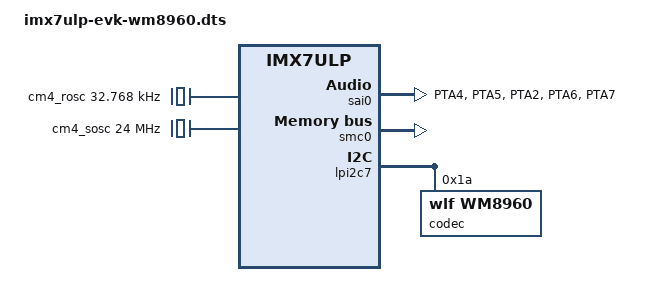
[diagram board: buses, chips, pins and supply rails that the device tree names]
/*
 * Copyright 2016 Freescale Semiconductor, Inc.
 *
 * This program is free software; you can redistribute it and/or modify
 * it under the terms of the GNU General Public License version 2 as
 * published by the Free Software Foundation.
 */

#include "imx7ulp-evk.dts"

/ {

	aips0: aips-bus@41000000 {
		compatible = "fsl,aips-bus", "simple-bus";
		#address-cells = <1>;
		#size-cells = <1>;
		reg = <0x41000000 0x80000>;
		ranges;

		pcc0: pcc0@41026000 {
			compatible  = "fsl,imx7ulp-pcc0";
			reg = <0x41026000 0x1000>;
		};

		clks_m4: scg0@41027000 {
			compatible = "fsl,imx7ulp-scg0";
			reg = <0x41027000 0x1000>;
			clocks = <&cm4_rosc>, <&cm4_sosc>, <&cm4_sirc>, <&cm4_firc>;
			clock-names = "cm4_rosc", "cm4_sosc", "cm4_sirc", "cm4_firc";
			#clock-cells = <1>;
		};

		sai0: sai@41037000 {
			compatible = "fsl,imx7ulp-sai";
			reg = <0x41037000 0x1000>;
			interrupts = <GIC_SPI 65 IRQ_TYPE_LEVEL_HIGH>;
			clocks = <&clks_m4 IMX7ULP_CM4_CLK_SAI0_IPG>,
				 <&clks_m4 IMX7ULP_CM4_CLK_DUMMY>,
				 <&clks_m4 IMX7ULP_CM4_CLK_SAI0_ROOT>,
				 <&clks_m4 IMX7ULP_CM4_CLK_DUMMY>,
				 <&clks_m4 IMX7ULP_CM4_CLK_DUMMY>;
			clock-names = "bus", "mclk0", "mclk1", "mclk2", "mclk3";
			dma-names = "rx", "tx";
			dmas = <&edma0 0 59>, <&edma0 0 60>;
			status = "disabled";
		};
	};

	aips1: aips-bus@41080000 {
		compatible = "fsl,aips-bus", "simple-bus";
		#address-cells = <1>;
		#size-cells = <1>;
		reg = <0x41080000 0x80000>;
		ranges;

		smc0: smc0@410a4000 {
			compatible = "fsl,imx7ulp-smc0";
			reg = <0x410a4000 0x1000>;
		};

		sai1: sai@410AA000 {
			compatible = "fsl,imx7ulp-sai";
			reg = <0x410AA000 0x1000>;
			interrupts = <GIC_SPI 66 IRQ_TYPE_LEVEL_HIGH>;
			clocks = <&clks_m4 IMX7ULP_CM4_CLK_SAI1_IPG>,
				 <&clks_m4 IMX7ULP_CM4_CLK_DUMMY>,
				 <&clks_m4 IMX7ULP_CM4_CLK_SAI1_ROOT>,
				 <&clks_m4 IMX7ULP_CM4_CLK_DUMMY>,
				 <&clks_m4 IMX7ULP_CM4_CLK_DUMMY>;
			clock-names = "bus", "mclk0", "mclk1", "mclk2", "mclk3";
			dma-names = "rx", "tx";
			dmas = <&edma0 0 61>, <&edma0 0 62>;
			status = "disabled";
		};

		pcc1: pcc1@410b2000 {
			compatible  = "fsl,imx7ulp-pcc1";
			reg = <0x410b2000 0x1000>;
		};
	};

	clocks_m4 {
		#address-cells = <1>;
		#size-cells = <0>;

		cm4_rosc: clock@6 {
			compatible = "fixed-clock";
			#clock-cells = <0>;
			clock-frequency = <32768>;
			clock-output-names = "cm4_rosc";
		};

		cm4_sosc: clock@7 {
			compatible = "fixed-clock";
			#clock-cells = <0>;
			clock-frequency = <24000000>;
			clock-output-names = "cm4_sosc";
		};

		cm4_sirc: clock@8 {
			compatible = "fixed-clock";
			#clock-cells = <0>;
			clock-frequency = <16000000>;
			clock-output-names = "cm4_sirc";
		};

		cm4_firc: clock@9 {
			compatible = "fixed-clock";
			#clock-cells = <0>;
			clock-frequency = <48000000>;
			clock-output-names = "cm4_firc";
		};
	};

	sound-rpmsg {
		status = "disabled";
	};

	sound {
		compatible = "fsl,imx7d-evk-wm8960",
			     "fsl,imx-audio-wm8960";
		model = "wm8960-audio";
		cpu-dai = <&sai0>;
		audio-codec = <&codec>;
		codec-master;
		/* JD3: hp detect high for headphone*/
		hp-det = <3 0>;
		audio-routing =
			"Headphone Jack", "HP_L",
			"Headphone Jack", "HP_R",
			"Ext Spk", "SPK_LP",
			"Ext Spk", "SPK_LN",
			"Ext Spk", "SPK_RP",
			"Ext Spk", "SPK_RN",
			"LINPUT1", "Mic Jack",
			"LINPUT3", "Mic Jack",
			"Mic Jack", "MICB";

	};
};

&iomuxc {
	pinctrl-names = "default";
	pinctrl-0 = <&pinctrl_hog_0_1>;
	status = "okay";

	imx7ulp-evk-0 {
		pinctrl_hog_0_1: hoggrp-0-1 {
			fsl,pins = <
				IMX7ULP_PAD_PTA24__PTA24		0x127
				IMX7ULP_PAD_PTB0__CLKOUT0		0x900
			>;
		};

		pinctrl_sai0: sai0_grp {
			fsl,pins = <
				IMX7ULP_PAD_PTA4__I2S0_MCLK        0x700
				IMX7ULP_PAD_PTA5__I2S0_TX_BCLK     0x0700
				IMX7ULP_PAD_PTA2__I2S0_RXD0        0x0700
				IMX7ULP_PAD_PTA6__I2S0_TX_FS       0x0700
				IMX7ULP_PAD_PTA7__I2S0_TXD0        0x0700
			>;
		};
	};
};

&lpi2c7 {
	status = "okay";

	codec: wm8960@1a {
		compatible = "wlf,wm8960";
		reg = <0x1a>;
		clocks = <&clks_m4 IMX7ULP_CLK_SCG0_CLKOUT>;
		clock-names = "mclk";
		wlf,shared-lrclk;
		assigned-clocks = <&clks_m4 IMX7ULP_CLK_SCG0_CLKOUT>;
		assigned-clock-parents = <&clks_m4 IMX7ULP_CM4_CLK_SOSC>;
	};
};

&clks_m4 {
	assigned-clocks = <&clks_m4 IMX7ULP_CM4_CLK_APLL_VCO_PRE_SEL>,
			  <&clks_m4 IMX7ULP_CM4_CLK_APLL_VCO>,
			  <&clks_m4 IMX7ULP_CM4_CLK_APLL_VCO_POST_DIV1>,
			  <&clks_m4 IMX7ULP_CM4_CLK_APLL_VCO_POST_DIV2>,
			  <&clks_m4 IMX7ULP_CM4_CLK_APLL_PFD0_PRE_DIV>;
	assigned-clock-parents = <&clks_m4 IMX7ULP_CM4_CLK_SOSC>;
	assigned-clock-rates = <0>, <540672000>, <49152000>, <12288000>, <270336000>;
};

&sai0 {
	pinctrl-names = "default";
	pinctrl-0 = <&pinctrl_sai0>;
	assigned-clocks = <&clks_m4 IMX7ULP_CM4_CLK_SAI0_SEL>,
			  <&clks_m4 IMX7ULP_CM4_CLK_SAI0_DIV>;
	assigned-clock-parents = <&clks_m4 IMX7ULP_CM4_CLK_APLL_PFD0_PRE_DIV>;
	assigned-clock-rates = <0>, <12288000>;
	fsl,dataline = <0 0x1 0x1>;
	status = "okay";
};
